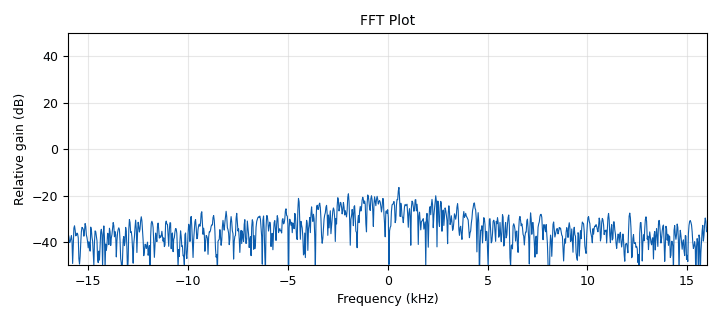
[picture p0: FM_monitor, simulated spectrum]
<?xml version='1.0' encoding='utf-8'?>
<?grc format='1' created='3.7.10'?>
<flow_graph>
<block>
<key>options</key>
<param><key>id</key><value>top_block</value></param>
<param><key>category</key><value>Custom</value></param>
<param><key>generate_options</key><value>wx_gui</value></param>
</block>
<block>
<key>variable</key>
<param><key>id</key><value>samp_rate</value></param>
<param><key>value</key><value>32000</value></param>
</block>
<block>
<key>wxgui_fftsink2</key>
<param><key>id</key><value>FM_monitor</value></param>
<param><key>avg_alpha</key><value>0</value></param>
<param><key>average</key><value>False</value></param>
<param><key>baseband_freq</key><value>0</value></param>
<param><key>fft_size</key><value>1024</value></param>
<param><key>freqvar</key><value>None</value></param>
<param><key>peak_hold</key><value>False</value></param>
<param><key>ref_level</key><value>50</value></param>
<param><key>ref_scale</key><value>2.0</value></param>
<param><key>fft_rate</key><value>30</value></param>
<param><key>samp_rate</key><value>samp_rate</value></param>
<param><key>title</key><value>FFT Plot</value></param>
<param><key>type</key><value>complex</value></param>
<param><key>win</key><value>None</value></param>
<param><key>y_divs</key><value>10</value></param>
<param><key>y_per_div</key><value>10</value></param>
</block>
<block>
<key>analog_frequency_modulator_fc</key>
<param><key>id</key><value>analog_frequency_modulator_fc_0</value></param>
<param><key>sensitivity</key><value>1</value></param>
</block>
<block>
<key>analog_noise_source_x</key>
<param><key>id</key><value>analog_noise_source_x_0</value></param>
<param><key>amp</key><value>1</value></param>
<param><key>noise_type</key><value>analog.GR_GAUSSIAN</value></param>
<param><key>type</key><value>float</value></param>
<param><key>seed</key><value>42</value></param>
</block>
<block>
<key>blocks_throttle</key>
<param><key>id</key><value>blocks_throttle_0</value></param>
<param><key>samples_per_second</key><value>samp_rate</value></param>
<param><key>type</key><value>complex</value></param>
</block>
<connection><source_block_id>analog_frequency_modulator_fc_0</source_block_id><sink_block_id>blocks_throttle_0</sink_block_id><source_key>0</source_key><sink_key>0</sink_key></connection>
<connection><source_block_id>analog_noise_source_x_0</source_block_id><sink_block_id>analog_frequency_modulator_fc_0</sink_block_id><source_key>0</source_key><sink_key>0</sink_key></connection>
<connection><source_block_id>blocks_throttle_0</source_block_id><sink_block_id>FM_monitor</sink_block_id><source_key>0</source_key><sink_key>0</sink_key></connection>
</flow_graph>
